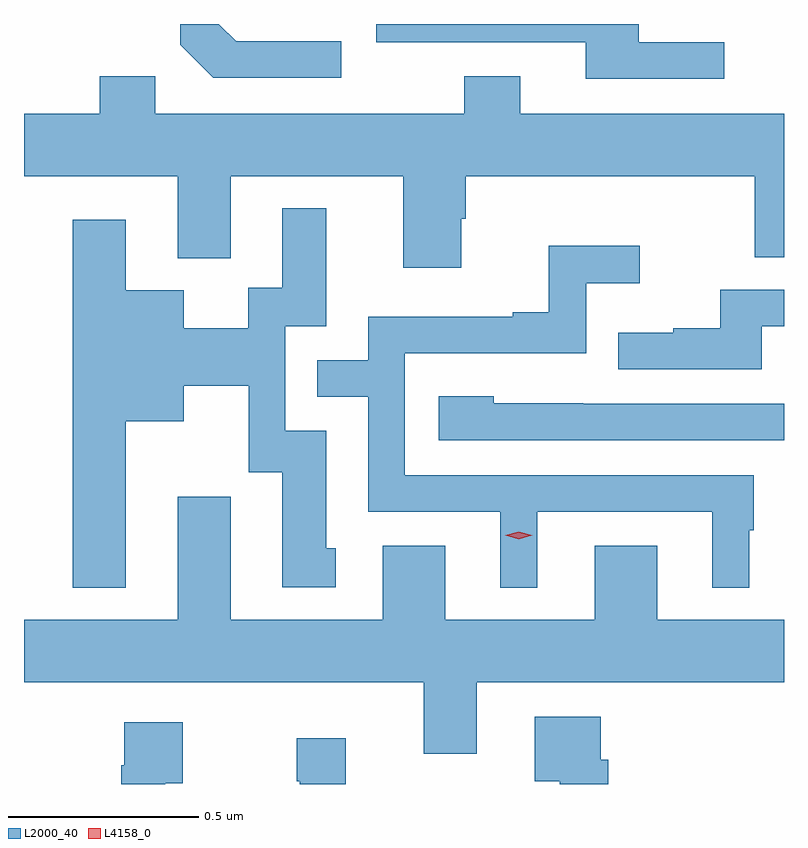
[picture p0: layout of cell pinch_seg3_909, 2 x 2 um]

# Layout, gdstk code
import gdstk
lib = gdstk.Library(unit=1e-6, precision=1e-09)
def P(c, l, *ps):  # polygons
    for p in ps: c.add(gdstk.Polygon(p, *l))
L2000_40 = (2000, 40)
L4158_0 = (4158, 0)

pinch_seg3_909 = lib.new_cell('pinch_seg3_909')
P(pinch_seg3_909, L2000_40, [(804.286,699.936),(804.061,699.936),(804.061,699.984),(803.37,699.984),(803.37,699.936),(803.921,699.936),(803.921,699.84),(804.286,699.84)],
  [(803.278,699.939),(803.001,699.939),(802.956,699.984),(802.854,699.984),(802.854,699.93),(802.941,699.843),(803.278,699.843)],
  [(803.593,699.471),(803.606,699.471),(803.606,699.584),(804.366,699.584),(804.366,699.37),(804.443,699.37),(804.443,699.748),(803.749,699.748),(803.749,699.847),(803.602,699.847),(803.602,699.748),(802.788,699.748),(802.788,699.847),(802.642,699.847),(802.642,699.748),(802.443,699.748),(802.443,699.584),(802.847,699.584),(802.847,699.368),(802.987,699.368),(802.987,699.584),(803.441,699.584),(803.441,699.342),(803.593,699.342)],
  [(802.711,698.939),(802.864,698.939),(802.864,699.032),(803.034,699.032),(803.034,698.805),(803.123,698.805),(803.123,698.502),(803.263,698.502),(803.263,698.604),(803.239,698.604),(803.239,698.913),(803.13,698.913),(803.13,699.189),(803.239,699.189),(803.239,699.499),(803.123,699.499),(803.123,699.29),(803.033,699.29),(803.033,699.184),(802.864,699.184),(802.864,699.283),(802.711,699.283),(802.711,699.469),(802.571,699.469),(802.571,698.501),(802.711,698.501)],
  [(803.794,698.7),(804.254,698.7),(804.254,698.501),(804.352,698.501),(804.352,698.652),(804.364,698.652),(804.364,698.796),(803.445,698.796),(803.445,699.117),(803.922,699.117),(803.922,699.302),(804.064,699.302),(804.064,699.401),(803.824,699.401),(803.824,699.226),(803.729,699.226),(803.729,699.213),(803.349,699.213),(803.349,699.099),(803.215,699.099),(803.215,699.003),(803.349,699.003),(803.349,698.7),(803.696,698.7),(803.696,698.501),(803.794,698.501)],
  [(804.385,699.188),(804.443,699.188),(804.443,699.285),(804.275,699.285),(804.275,699.184),(804.151,699.184),(804.151,699.172),(804.007,699.172),(804.007,699.075),(804.385,699.075)],
  [(804.443,698.985),(803.915,698.985),(803.915,698.986),(803.679,698.986),(803.679,699.004),(803.535,699.004),(803.535,698.889),(804.443,698.889)],
  [(803.635,698.252),(804.443,698.252),(804.443,698.416),(804.109,698.416),(804.109,698.611),(803.945,698.611),(803.945,698.416),(803.551,698.416),(803.551,698.611),(803.387,698.611),(803.387,698.416),(802.987,698.416),(802.987,698.74),(802.847,698.74),(802.847,698.416),(802.443,698.416),(802.443,698.252),(803.495,698.252),(803.495,698.063),(803.635,698.063)],
  [(803.981,698.048),(803.961,698.048),(803.961,698.161),(803.787,698.161),(803.787,697.991),(803.853,697.991),(803.853,697.984),(803.981,697.984)],
  [(802.815,697.986),(802.861,697.986),(802.861,698.146),(802.707,698.146),(802.707,698.033),(802.699,698.033),(802.699,697.984),(802.815,697.984)],
  [(803.29,698.104),(803.161,698.104),(803.161,697.991),(803.168,697.991),(803.168,697.984),(803.29,697.984)])
P(pinch_seg3_909, L4158_0, [(803.745,698.628),(803.709,698.638),(803.709,698.638),(803.709,698.639),(803.745,698.648),(803.781,698.638),(803.781,698.638),(803.781,698.638)])

lib.write_gds('pinch_seg3_909.gds')
